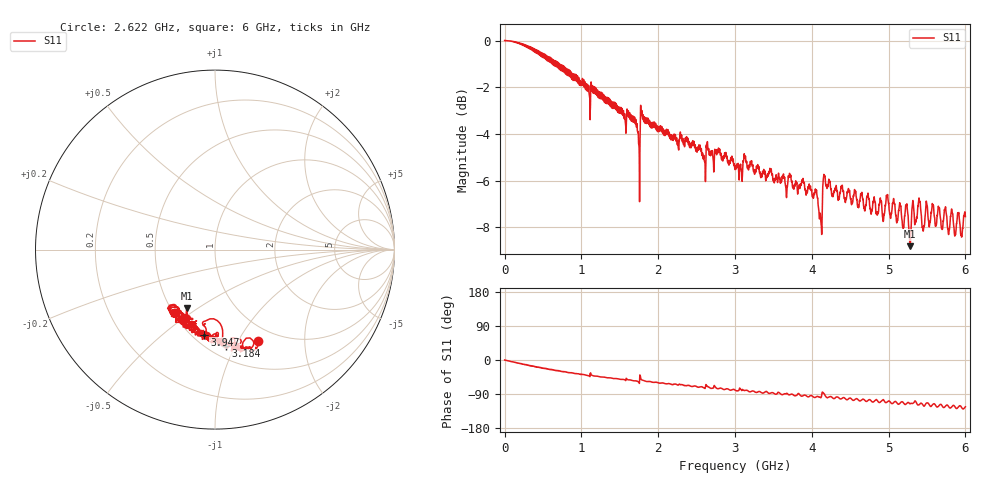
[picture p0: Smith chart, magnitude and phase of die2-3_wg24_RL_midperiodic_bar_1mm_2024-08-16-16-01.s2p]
!Keysight Technologies,P9374A,MY57304198,A.17.20.09
!Date: Friday, August 16, 2024 16:01:38
!Correction: S11(C  1-Port  )
!S21(C  1-Port  )
!S12(Off)
!S22(Off)
!S2P File: Measurements: S11, S21, S12, S22:
# Hz S  dB  R 50
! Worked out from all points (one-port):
!   6000 points, 300 kHz to 6 GHz, reference 50 ohm
!   lowest |S11| = -8.8 dB at 5.281 GHz (marker M1), VSWR 2.14, Z = 30.1 - j22.7 ohm
!   |S11| at or under -10 dB: nowhere
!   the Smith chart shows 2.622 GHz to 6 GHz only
!   S11 on the Smith chart (normalised r, x): 2.622 GHz: 0.81, -1.22; 3.184 GHz: 0.60, -0.92; 3.947 GHz: 0.57, -0.71; 6 GHz: 0.50, -0.43
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300000  -0.00 -0.0  -200.00 45.0  -200.00 45.0  -200.00 45.0
4.943576e8  -0.54 -20.9  -200.00 45.0  -200.00 45.0  -200.00 45.0
1.000417e9  -1.92 -37.3  -200.00 45.0  -200.00 45.0  -200.00 45.0
1.614488e9  -3.22 -52.2  -200.00 45.0  -200.00 45.0  -200.00 45.0
1.728502e9  -3.86 -56.0  -200.00 45.0  -200.00 45.0  -200.00 45.0
1.790509e9  -3.12 -52.9  -200.00 45.0  -200.00 45.0  -200.00 45.0
2.000533e9  -3.82 -60.2  -200.00 45.0  -200.00 45.0  -200.00 45.0
2.621606e9  -4.99 -64.9  -200.00 45.0  -200.00 45.0  -200.00 45.0
3.00065e9  -5.52 -79.1  -200.00 45.0  -200.00 45.0  -200.00 45.0
3.183671e9  -5.32 -83.8  -200.00 45.0  -200.00 45.0  -200.00 45.0
3.94676e9  -6.39 -97.1  -200.00 45.0  -200.00 45.0  -200.00 45.0
4.000767e9  -6.55 -94.4  -200.00 45.0  -200.00 45.0  -200.00 45.0
4.108779e9  -7.39 -98.9  -200.00 45.0  -200.00 45.0  -200.00 45.0
4.154785e9  -5.83 -87.7  -200.00 45.0  -200.00 45.0  -200.00 45.0
4.20079e9  -6.30 -99.6  -200.00 45.0  -200.00 45.0  -200.00 45.0
4.2828e9  -6.53 -101.6  -200.00 45.0  -200.00 45.0  -200.00 45.0
5.000883e9  -6.95 -108.2  -200.00 45.0  -200.00 45.0  -200.00 45.0
5.280916e9  -8.80 -115.5  -200.00 45.0  -200.00 45.0  -200.00 45.0
5.39793e9  -6.79 -117.8  -200.00 45.0  -200.00 45.0  -200.00 45.0
5.449936e9  -8.16 -120.0  -200.00 45.0  -200.00 45.0  -200.00 45.0
5.500942e9  -7.07 -113.0  -200.00 45.0  -200.00 45.0  -200.00 45.0
6e9  -7.53 -123.3  -200.00 45.0  -200.00 45.0  -200.00 45.0
